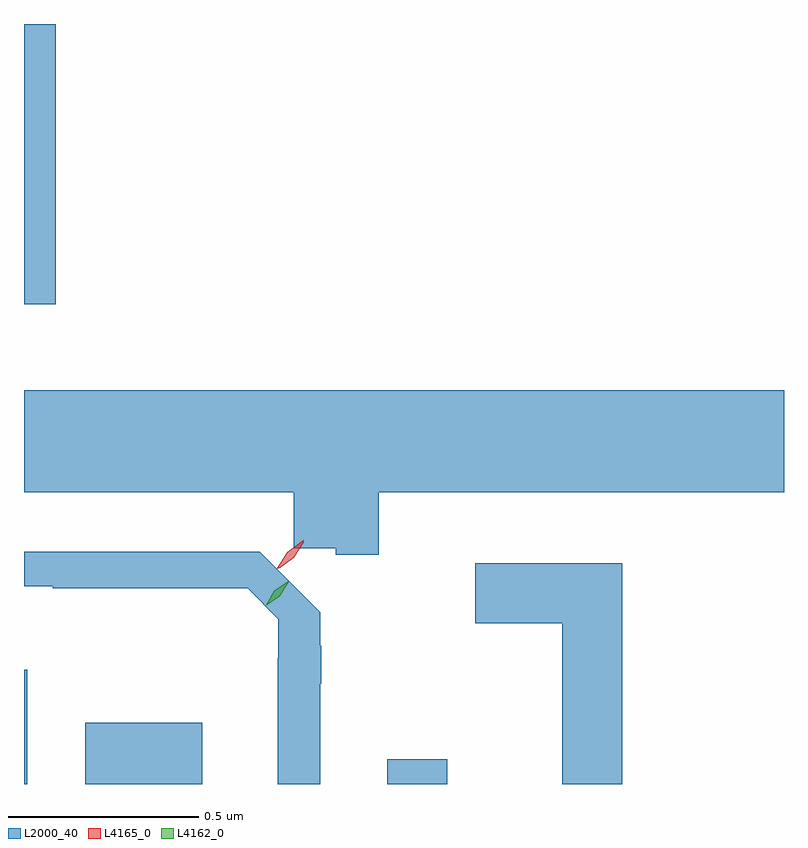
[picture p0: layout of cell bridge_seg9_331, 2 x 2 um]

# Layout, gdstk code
import gdstk
lib = gdstk.Library(unit=1e-6, precision=1e-09)
def R(c, l, rs):  # rectangles x0, y0, x1, y1
    for r in rs: c.add(gdstk.rectangle(r[:2], r[2:], *l))
def P(c, l, *ps):  # polygons
    for p in ps: c.add(gdstk.Polygon(p, *l))
L2000_40 = (2000, 40)
L4162_0 = (4162, 0)
L4165_0 = (4165, 0)

bridge_seg9_331 = lib.new_cell('bridge_seg9_331')
R(bridge_seg9_331, L2000_40, [(1027.56,2013.248,1027.569,2013.549), (1027.721,2013.248,1028.029,2013.409), (1028.516,2013.248,1028.674,2013.313), (1027.56,2014.511,1027.644,2015.248)])
P(bridge_seg9_331, L2000_40, [(1028.494,2014.016),(1029.56,2014.016),(1029.56,2014.284),(1027.56,2014.284),(1027.56,2014.016),(1028.27,2014.016),(1028.27,2013.868),(1028.38,2013.868),(1028.38,2013.851),(1028.494,2013.851)],
  [(1028.339,2013.512),(1028.342,2013.512),(1028.342,2013.612),(1028.339,2013.612),(1028.339,2013.7),(1028.18,2013.859),(1027.56,2013.859),(1027.56,2013.769),(1027.636,2013.769),(1027.636,2013.763),(1028.149,2013.763),(1028.229,2013.682),(1028.229,2013.579),(1028.228,2013.579),(1028.228,2013.248),(1028.339,2013.248)],
  [(1029.134,2013.829),(1028.748,2013.829),(1028.748,2013.671),(1028.976,2013.671),(1028.976,2013.248),(1029.134,2013.248)])
P(bridge_seg9_331, L4162_0, [(1028.196,2013.717),(1028.196,2013.717),(1028.219,2013.756),(1028.256,2013.781),(1028.257,2013.781),(1028.257,2013.78),(1028.233,2013.742),(1028.196,2013.717)])
P(bridge_seg9_331, L4165_0, [(1028.225,2013.813),(1028.225,2013.814),(1028.253,2013.858),(1028.295,2013.89),(1028.296,2013.89),(1028.296,2013.889),(1028.268,2013.845),(1028.225,2013.813)],
  [(1028.23,2013.814),(1028.23,2013.814),(1028.256,2013.856),(1028.295,2013.885),(1028.296,2013.885),(1028.296,2013.884),(1028.27,2013.843),(1028.23,2013.814)])

lib.write_gds('bridge_seg9_331.gds')
